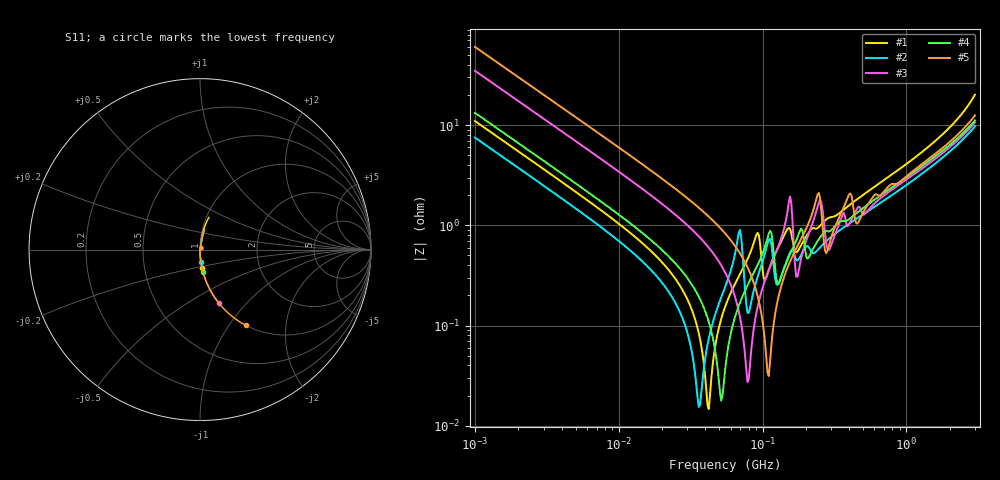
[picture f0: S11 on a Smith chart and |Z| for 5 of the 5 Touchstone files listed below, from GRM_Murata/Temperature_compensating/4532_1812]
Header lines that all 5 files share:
!These Parameters are Measured in Series Mode Connection
!Data Generated on Mar 30, 2021
!  o--ll--o
!Port1  Port2
!  o------o
!Operation Temp=25[degC], DC Bias Voltage=0[V]
!Freq. Start=1000[kHz] Stop=3[GHz] 401[Steps]
# Hz S RI R 50
!Freq.(Hz) S11(Real) S11(Imag) S21(Real) S21(Imag) S12(Real) S12(Imag) S22(Real) S22(Imag)
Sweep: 1 MHz to 3 GHz
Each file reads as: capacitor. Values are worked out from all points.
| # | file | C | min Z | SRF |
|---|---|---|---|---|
| 1 | GRM43D7U2J153JW31.s2p | 14.5 nF | 14.6 mohm | 41.99 MHz |
| 2 | GRM43D7U2J223JW31.s2p | 21.2 nF | 15.4 mohm | 36.3 MHz |
| 3 | GRM43D7U3A472JW31.s2p | 4.57 nF | 27.3 mohm | 79.19 MHz |
| 4 | GRM43Q7U2J123JW31.s2p | 12 nF | 17.8 mohm | 51.82 MHz |
| 5 | GRM43Q7U3A272JW31.s2p | 2.64 nF | 31.3 mohm | 109.7 MHz |
